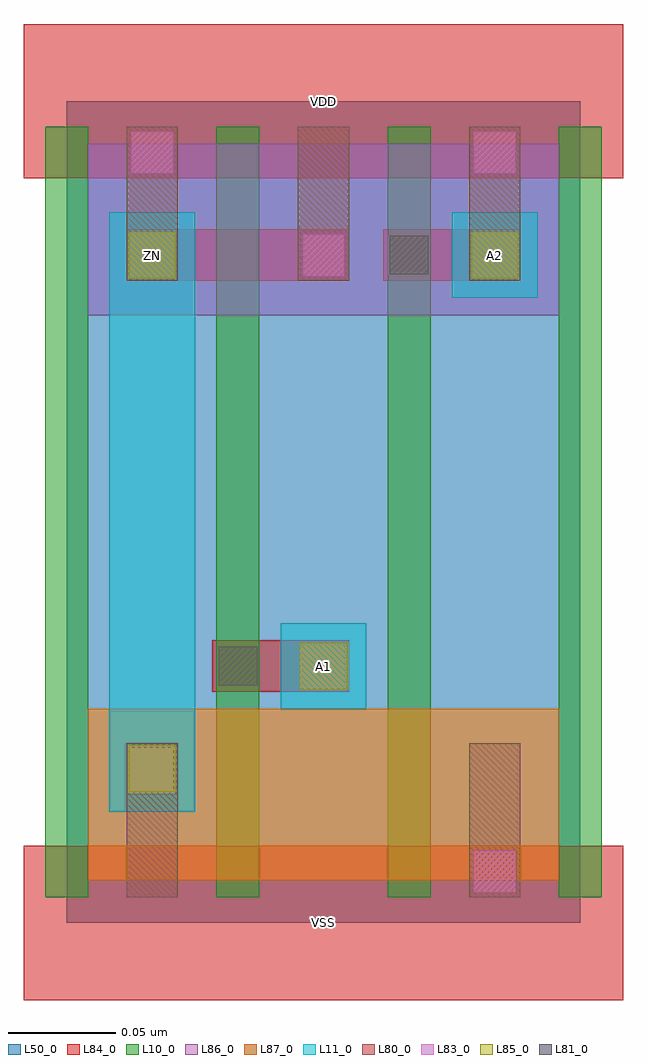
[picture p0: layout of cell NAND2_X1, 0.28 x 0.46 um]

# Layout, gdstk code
import gdstk
lib = gdstk.Library(unit=1e-6, precision=1e-09)
def R(c, l, rs):  # rectangles x0, y0, x1, y1
    for r in rs: c.add(gdstk.rectangle(r[:2], r[2:], *l))
def A(c, l, x, y, w, h, nx, ny, dx, dy):  # array of equal rectangles
    R(c, l, [(x+i*dx, y+j*dy, x+i*dx+w, y+j*dy+h) for i in range(nx) for j in range(ny)])
L10_0 = (10, 0)
L11_0 = (11, 0)
L50_0 = (50, 0)
L80_0 = (80, 0)
L81_0 = (81, 0)
L83_0 = (83, 0)
L84_0 = (84, 0)
L85_0 = (85, 0)
L86_0 = (86, 0)
L87_0 = (87, 0)

nand2_x1 = lib.new_cell('NAND2_X1')
A(nand2_x1, L10_0, -0.01, 0.012, 0.02, 0.36, 4, 1, 0.08, 0)
R(nand2_x1, L11_0, [(0.02,0.052,0.06,0.332), (0.1,0.1,0.14,0.14), (0.18,0.292,0.22,0.332)])
R(nand2_x1, L50_0, [(0,0,0.24,0.384)])
A(nand2_x1, L80_0, 0.028, 0.3, 0.024, 0.072, 3, 1, 0.08, 0)
R(nand2_x1, L80_0, [(0.028,0.012,0.052,0.084), (0.188,0.012,0.212,0.084)])
R(nand2_x1, L81_0, [(0.071,0.111,0.089,0.129), (0.151,0.303,0.169,0.321)])
R(nand2_x1, L83_0, [(0.19,0.014,0.21,0.034), (0.03,0.062,0.05,0.082), (0.11,0.302,0.13,0.322), (0.03,0.35,0.05,0.37), (0.19,0.35,0.21,0.37)])
R(nand2_x1, L84_0, [(-0.02,-0.036,0.26,0.036), (0.028,0.06,0.052,0.084), (0.068,0.108,0.132,0.132), (0.028,0.3,0.132,0.324), (0.148,0.3,0.212,0.324), (-0.02,0.348,0.26,0.42)])
R(nand2_x1, L85_0, [(0.029,0.061,0.051,0.083), (0.109,0.109,0.131,0.131), (0.029,0.301,0.051,0.323), (0.189,0.301,0.211,0.323)])
R(nand2_x1, L86_0, [(0.01,0.284,0.23,0.364)])
R(nand2_x1, L87_0, [(0.01,0.02,0.23,0.1)])
nand2_x1.add(gdstk.Label('VDD', (0.12,0.384), layer=88, texttype=0))
nand2_x1.add(gdstk.Label('VSS', (0.12,0), layer=88, texttype=0))
nand2_x1.add(gdstk.Label('ZN', (0.04,0.312), layer=31, texttype=0))
nand2_x1.add(gdstk.Label('A1', (0.12,0.12), layer=31, texttype=0))
nand2_x1.add(gdstk.Label('A2', (0.2,0.312), layer=31, texttype=0))

lib.write_gds('NAND2_X1.gds')
